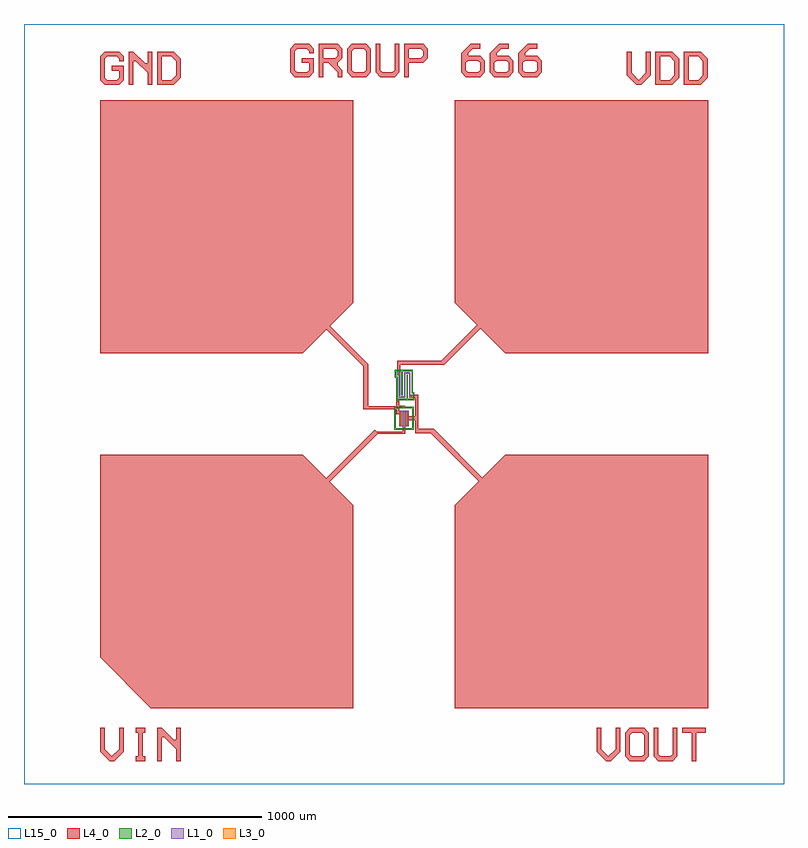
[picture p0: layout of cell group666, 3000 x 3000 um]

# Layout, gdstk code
import gdstk
lib = gdstk.Library(unit=1e-6, precision=1e-09)
def R(c, l, rs):  # rectangles x0, y0, x1, y1
    for r in rs: c.add(gdstk.rectangle(r[:2], r[2:], *l))
def P(c, l, *ps):  # polygons
    for p in ps: c.add(gdstk.Polygon(p, *l))
L1_0 = (1, 0)
L2_0 = (2, 0)
L3_0 = (3, 0)
L4_0 = (4, 0)
L15_0 = (15, 0)

text_3 = lib.new_cell('TEXT$3')
P(text_3, L4_0, [(18.75,0),(0,18.75),(0,112.5),(18.75,131.25),(75,131.25),(93.75,112.5),(93.75,93.75),(75,93.75),(75,103.125),(65.625,112.5),(28.125,112.5),(18.75,103.125),(18.75,28.125),(28.125,18.75),(65.625,18.75),(75,28.125),(75,56.25),(46.875,56.25),(46.875,75),(93.75,75),(93.75,18.75),(75,0)],
  [(112.5,0),(112.5,131.25),(187.5,131.25),(206.25,112.5),(131.25,112.5),(131.25,75),(178.125,75),(187.5,84.375),(187.5,103.125),(178.125,112.5),(206.25,112.5),(206.25,75),(187.5,56.25),(187.5,46.875),(206.25,28.125),(206.25,0),(187.5,0),(187.5,18.75),(150,56.25),(131.25,56.25),(131.25,0)],
  [(243.75,0),(225,18.75),(225,112.5),(243.75,131.25),(300,131.25),(318.75,112.5),(318.75,65.625),(300,65.625),(300,103.125),(290.625,112.5),(253.125,112.5),(243.75,103.125),(243.75,28.125),(253.125,18.75),(290.625,18.75),(300,28.125),(300,65.625),(318.75,65.625),(318.75,18.75),(300,0)],
  [(356.25,0),(337.5,18.75),(337.5,131.25),(356.25,131.25),(356.25,28.125),(365.625,18.75),(403.125,18.75),(412.5,28.125),(412.5,131.25),(431.25,131.25),(431.25,18.75),(412.5,0)],
  [(450,0),(450,131.25),(525,131.25),(543.75,112.5),(543.75,75),(525,56.25),(468.75,56.25),(468.75,75),(515.625,75),(525,84.375),(525,103.125),(515.625,112.5),(468.75,112.5),(468.75,0)],
  [(693.75,0),(675,18.75),(675,93.75),(712.5,131.25),(750,131.25),(750,112.5),(721.875,112.5),(703.125,93.75),(703.125,84.375),(750,84.375),(768.75,65.625),(703.125,65.625),(693.75,56.25),(693.75,28.125),(703.125,18.75),(740.625,18.75),(750,28.125),(750,56.25),(740.625,65.625),(768.75,65.625),(768.75,18.75),(750,0)],
  [(806.25,0),(787.5,18.75),(787.5,93.75),(825,131.25),(862.5,131.25),(862.5,112.5),(834.375,112.5),(815.625,93.75),(815.625,84.375),(862.5,84.375),(881.25,65.625),(815.625,65.625),(806.25,56.25),(806.25,28.125),(815.625,18.75),(853.125,18.75),(862.5,28.125),(862.5,56.25),(853.125,65.625),(881.25,65.625),(881.25,18.75),(862.5,0)],
  [(918.75,0),(900,18.75),(900,93.75),(937.5,131.25),(975,131.25),(975,112.5),(946.875,112.5),(928.125,93.75),(928.125,84.375),(975,84.375),(993.75,65.625),(928.125,65.625),(918.75,56.25),(918.75,28.125),(928.125,18.75),(965.625,18.75),(975,28.125),(975,56.25),(965.625,65.625),(993.75,65.625),(993.75,18.75),(975,0)])

text_9 = lib.new_cell('TEXT$9')
P(text_9, L4_0, [(18.75,0),(0,18.75),(0,112.5),(18.75,131.25),(75,131.25),(93.75,112.5),(93.75,93.75),(75,93.75),(75,103.125),(65.625,112.5),(28.125,112.5),(18.75,103.125),(18.75,28.125),(28.125,18.75),(65.625,18.75),(75,28.125),(75,56.25),(46.875,56.25),(46.875,75),(93.75,75),(93.75,18.75),(75,0)],
  [(112.5,0),(112.5,131.25),(131.25,131.25),(178.125,84.375),(187.5,84.375),(187.5,131.25),(206.25,131.25),(206.25,0),(187.5,0),(187.5,46.875),(140.625,93.75),(131.25,93.75),(131.25,0)],
  [(225,0),(225,131.25),(290.625,131.25),(309.375,112.5),(243.75,112.5),(243.75,18.75),(281.25,18.75),(300,37.5),(300,93.75),(281.25,112.5),(309.375,112.5),(318.75,103.125),(318.75,28.125),(290.625,0)])

text_11 = lib.new_cell('TEXT$11')
P(text_11, L4_0, [(37.5,0),(0,37.5),(0,131.25),(18.75,131.25),(18.75,46.875),(46.875,18.75),(75,46.875),(75,131.25),(93.75,131.25),(93.75,37.5),(56.25,0)],
  [(112.5,0),(112.5,131.25),(178.125,131.25),(196.875,112.5),(131.25,112.5),(131.25,18.75),(168.75,18.75),(187.5,37.5),(187.5,93.75),(168.75,112.5),(196.875,112.5),(206.25,103.125),(206.25,28.125),(178.125,0)],
  [(225,0),(225,131.25),(290.625,131.25),(309.375,112.5),(243.75,112.5),(243.75,18.75),(281.25,18.75),(300,37.5),(300,93.75),(281.25,112.5),(309.375,112.5),(318.75,103.125),(318.75,28.125),(290.625,0)])

text_1 = lib.new_cell('TEXT$1')
P(text_1, L4_0, [(37.5,0),(0,37.5),(0,131.25),(18.75,131.25),(18.75,46.875),(46.875,18.75),(75,46.875),(75,131.25),(93.75,131.25),(93.75,37.5),(56.25,0)],
  [(140.625,0),(140.625,18.75),(150,18.75),(150,112.5),(140.625,112.5),(140.625,131.25),(178.125,131.25),(178.125,112.5),(168.75,112.5),(168.75,18.75),(178.125,18.75),(178.125,0)],
  [(225,0),(225,131.25),(243.75,131.25),(290.625,84.375),(300,84.375),(300,131.25),(318.75,131.25),(318.75,0),(300,0),(300,46.875),(253.125,93.75),(243.75,93.75),(243.75,0)])

text_2 = lib.new_cell('TEXT$2')
P(text_2, L4_0, [(37.5,0),(0,37.5),(0,131.25),(18.75,131.25),(18.75,46.875),(46.875,18.75),(75,46.875),(75,131.25),(93.75,131.25),(93.75,37.5),(56.25,0)],
  [(131.25,0),(112.5,18.75),(112.5,112.5),(131.25,131.25),(187.5,131.25),(206.25,112.5),(206.25,65.625),(187.5,65.625),(187.5,103.125),(178.125,112.5),(140.625,112.5),(131.25,103.125),(131.25,28.125),(140.625,18.75),(178.125,18.75),(187.5,28.125),(187.5,65.625),(206.25,65.625),(206.25,18.75),(187.5,0)],
  [(243.75,0),(225,18.75),(225,131.25),(243.75,131.25),(243.75,28.125),(253.125,18.75),(290.625,18.75),(300,28.125),(300,131.25),(318.75,131.25),(318.75,18.75),(300,0)],
  [(375,0),(375,112.5),(337.5,112.5),(337.5,131.25),(431.25,131.25),(431.25,112.5),(393.75,112.5),(393.75,0)])

group666 = lib.new_cell('group666')
R(group666, L1_0, [(-19,-87,-3,-27), (2,-87,18,-27), (-20,25,5,30), (20,25,31,36), (-20,30,-15,120), (0,30,5,125), (20,35,25,125), (-26,114,-15,125), (5,120,20,125)])
R(group666, L2_0, [(-6.25,-17,4.75,-6), (-30,9,-19,20), (-30,15,36,20), (36,15,41,47), (-30,20,-25,108), (10,20,15,115), (-10,35,-5,130), (30,42,35,130), (35,42,36,47), (-36,103,-31,135), (-31,103,-30,108), (-31,130,35,135)])
P(group666, L2_0, [(-3,-101.5),(-3,-96.5),(32.5,-96.5),(32.5,-17),(-3,-17),(-3,-11),(37.5,-11),(37.5,-101.5)],
  [(-38.5,-101.5),(-38.5,-11),(2,-11),(2,-17),(-33.5,-17),(-33.5,-96.5),(2,-96.5),(2,-101.5)])
R(group666, L3_0, [(-16,-82,-11,-32), (10,-82,15,-32), (-3,-14,2,-9), (-27,12,-22,17), (23,28,28,33), (-23,117,-18,122)])
R(group666, L4_0, [(-109,-117,-4,-110), (-5,-117,4,-27), (45,-115,56,36), (54,-115,117.574,-98.431), (-19,-85,-8,-29), (7,-85,18,-29), (18,-63.5,45,-48.5), (-30,-40,-19,-17), (-160,-20,-30,-8), (-160,-20,-140.931,157.574), (-30,-17,4.75,-6), (-30,-11,-19,20), (20,25,54,36), (-26,114,-15,155), (-26,155,156,170)])
P(group666, L4_0, [(-302.426,-316.569),(-316.569,-302.426),(-115.074,-100.931),(-100.931,-115.074)],
  [(307.426,-316.569),(103.431,-112.574),(117.574,-98.431),(321.569,-302.426)],
  [(157.574,153.431),(143.431,167.574),(297.426,321.569),(311.569,307.426)],
  [(-155.074,143.431),(-316.569,304.926),(-302.426,319.069),(-140.931,157.574)],
  [(-1000,-1200),(-1200,-1000),(-1200,-200),(-400,-200),(-200,-400),(-200,-1200)],
  [(-1200,200),(-1200,1200),(-200,1200),(-200,400),(-400,200)],
  [(400,200),(200,400),(200,1200),(1200,1200),(1200,200)],
  [(200,-1200),(200,-400),(400,-200),(1200,-200),(1200,-1200)])
R(group666, L15_0, [(-1500,-1500,1500,1500)])
group666.add(gdstk.Reference(text_3, (-450,1290)))
group666.add(gdstk.Reference(text_9, (-1200,1260)))
group666.add(gdstk.Reference(text_11, (880,1260)))
group666.add(gdstk.Reference(text_1, (-1200,-1410)))
group666.add(gdstk.Reference(text_2, (760,-1410)))

lib.write_gds('group666.gds')
